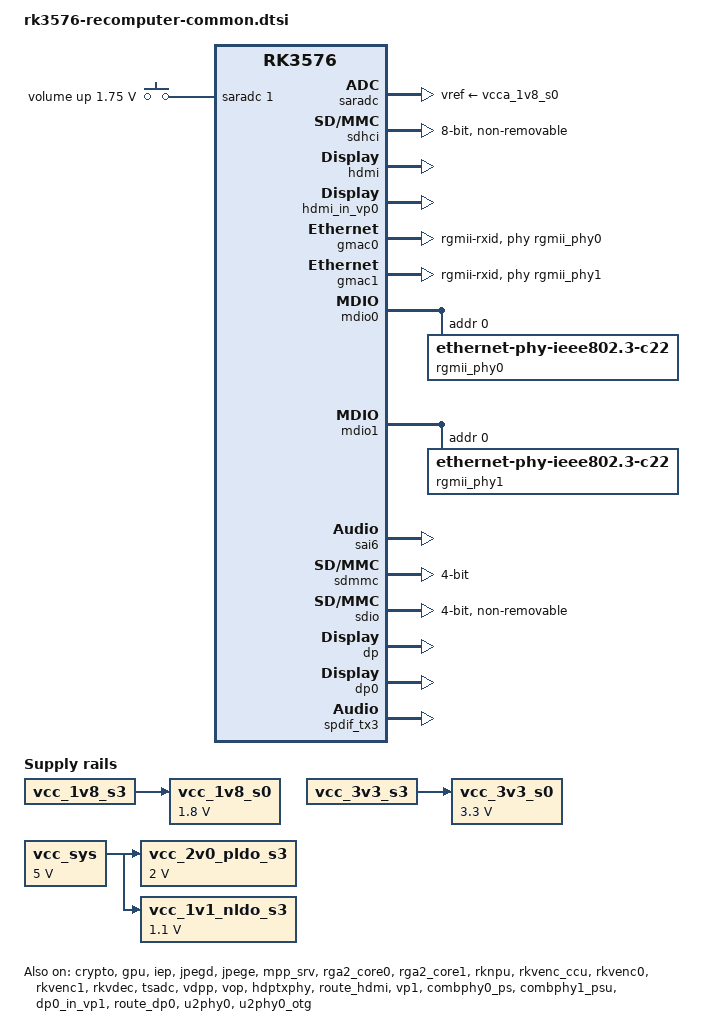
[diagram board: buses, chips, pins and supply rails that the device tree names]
// SPDX-License-Identifier: (GPL-2.0+ OR MIT)
/*
 * Copyright (c) 2024 Rockchip Electronics Co., Ltd.
 * Copyright (c) 2025 Radxa Computer (Shenzhen) Co., Ltd.
 *
 * ReComputer RK3576 family common bits: power tree (incl. the RK806 PMIC
 * include), SoC IP enables and the display / storage / ethernet framework.
 * Pin assignments, power switches and devices tied to one specific board
 * (GPIO expander, codecs, Type-C controller, fan, WiFi/BT module, 40-pin
 * header naming) stay in the per-board dts.
 */

#include <dt-bindings/usb/pd.h>
#include <dt-bindings/gpio/gpio.h>
#include <dt-bindings/pwm/pwm.h>
#include <dt-bindings/pinctrl/rockchip.h>
#include <dt-bindings/input/rk-input.h>
#include <dt-bindings/display/drm_mipi_dsi.h>
#include <dt-bindings/display/rockchip_vop.h>
#include <dt-bindings/sensor-dev.h>
#include "rk3576.dtsi"
#include "rk3576-linux.dtsi"
#include "rk3576-rk806.dtsi"

/ {
	adc-keys {
		compatible = "adc-keys";
		io-channels = <&saradc 1>;
		io-channel-names = "buttons";
		keyup-threshold-microvolt = <1800000>;
		status = "okay";

		volumeup-key {
			linux,code = <KEY_VOLUMEUP>;
			label = "volume up";
			press-threshold-microvolt = <1750000>;
		};
	};

	vcc_sys: vcc5v0-sys {
		compatible = "regulator-fixed";
		regulator-name = "vcc_sys";
		regulator-always-on;
		regulator-boot-on;
		regulator-min-microvolt = <5000000>;
		regulator-max-microvolt = <5000000>;
	};

	vcc_2v0_pldo_s3: vcc-2v0-pldo-s3 {
		compatible = "regulator-fixed";
		regulator-name = "vcc_2v0_pldo_s3";
		regulator-boot-on;
		regulator-always-on;
		regulator-min-microvolt = <2000000>;
		regulator-max-microvolt = <2000000>;
		vin-supply = <&vcc_sys>;
	};

	vcc_1v1_nldo_s3: vcc-1v1-nldo-s3 {
		compatible = "regulator-fixed";
		regulator-name = "vcc_1v1_nldo_s3";
		regulator-boot-on;
		regulator-always-on;
		regulator-min-microvolt = <1100000>;
		regulator-max-microvolt = <1100000>;
		vin-supply = <&vcc_sys>;
	};

	vcc_1v8_s0: vcc-1v8-s0 {
		compatible = "regulator-fixed";
		regulator-name = "vcc_1v8_s0";
		regulator-boot-on;
		regulator-always-on;
		regulator-min-microvolt = <1800000>;
		regulator-max-microvolt = <1800000>;
		vin-supply = <&vcc_1v8_s3>;
	};

	vcc_3v3_s0: vcc-3v3-s0 {
		compatible = "regulator-fixed";
		regulator-name = "vcc_3v3_s0";
		regulator-boot-on;
		regulator-always-on;
		regulator-min-microvolt = <3300000>;
		regulator-max-microvolt = <3300000>;
		vin-supply = <&vcc_3v3_s3>;
	};

	hdmi_sound: hdmi-sound {
		compatible = "rockchip,hdmi";
		rockchip,mclk-fs = <128>;
		rockchip,card-name = "rockchip-hdmi0";
		rockchip,cpu = <&sai6>;
		rockchip,codec = <&hdmi>;
		rockchip,jack-det;
	};

	dp0_sound: dp0-sound {
		compatible = "rockchip,hdmi";
		rockchip,mclk-fs = <512>;
		rockchip,card-name = "rockchip-dp0";
		rockchip,cpu = <&spdif_tx3>;
		rockchip,codec = <&dp0 1>;
		rockchip,jack-det;
	};
};

&cpu_l0 {
	cpu-supply = <&vdd_cpu_lit_s0>;
};

&cpu_b0 {
	cpu-supply = <&vdd_cpu_big_s0>;
};

&crypto {
	status = "okay";
};

&gpu {
	mali-supply = <&vdd_gpu_s0>;
	status = "okay";
};

&iep {
	status = "okay";
};

&iep_mmu {
	status = "okay";
};

&jpegd {
	status = "okay";
};

&jpege {
	status = "okay";
};

&jpeg_mmu {
	status = "okay";
};

&mpp_srv {
	status = "okay";
};

&rga2_core0 {
	status = "okay";
};

&rga2_core0_mmu {
	status = "okay";
};

&rga2_core1 {
	status = "okay";
};

&rga2_core1_mmu {
	status = "okay";
};

&rknpu {
	rknpu-supply = <&vdd_npu_s0>;
	status = "okay";
};

&rknpu_mmu {
	status = "okay";
};

&rkvenc_ccu {
	status = "okay";
};

&rkvenc0 {
	status = "okay";
};

&rkvenc0_mmu {
	status = "okay";
};

&rkvenc1 {
	status = "okay";
};

&rkvenc1_mmu {
	status = "okay";
};

&rkvdec {
	status = "okay";
};

&rkvdec_mmu {
	status = "okay";
};

&rockchip_suspend {
	status = "okay";
	rockchip,sleep-debug-en = <1>;

	rockchip,sleep-io-ret-config = <
		(0
		| RKPM_VCCIO3_RET_EN
		)
	>;

	rockchip,regulator-on-before-mem = <&vdd_npu_s0>;
};

&vdd_logic_s0 {
	regulator-state-mem {
		regulator-on-in-suspend;
	};
};

&vcca_1v8_s0 {
	regulator-state-mem {
		regulator-on-in-suspend;
	};
};

&saradc {
	status = "okay";
	vref-supply = <&vcca_1v8_s0>;
};

&tsadc {
	status = "okay";
};

&sdhci {
	bus-width = <8>;
	no-sdio;
	no-sd;
	non-removable;
	max-frequency = <100000000>;
	mmc-hs400-1_8v;
	mmc-hs400-enhanced-strobe;
	full-pwr-cycle-in-suspend;
};

&vdpp {
	status = "okay";
};

&vop {
	status = "okay";
	vop-supply = <&vdd_logic_s0>;
};

&vop_mmu {
	status = "okay";
};

&display_subsystem {
	clocks = <&hdptxphy>;
	clock-names = "hdmi0_phy_pll";
};

&hdmi {
	status = "okay";
	cec-enable;
	ddc-i2c-scl-high-time-ns = <4812>;
	ddc-i2c-scl-low-time-ns = <5000>;
};

&hdmi_in_vp0 {
	status = "okay";
};

&hdptxphy {
	status = "okay";
};

&route_hdmi {
	status = "okay";
	connect = <&vp0_out_hdmi>;
};

&hdmi_sound {
	status = "okay";
};

&vp0 {
	rockchip,plane-mask = <(1 << ROCKCHIP_VOP2_CLUSTER0 | 1 << ROCKCHIP_VOP2_ESMART0)>;
	rockchip,primary-plane = <ROCKCHIP_VOP2_ESMART0>;
	cursor-win-id = <ROCKCHIP_VOP2_CLUSTER0>;
};

&vp1 {
	status = "okay";
	assigned-clocks = <&cru DCLK_VP1_SRC>;
	assigned-clock-parents = <&cru PLL_VPLL>;
	rockchip,plane-mask = <(1 << ROCKCHIP_VOP2_CLUSTER1 | 1 << ROCKCHIP_VOP2_ESMART1)>;
	rockchip,primary-plane = <ROCKCHIP_VOP2_ESMART1>;
	cursor-win-id = <ROCKCHIP_VOP2_CLUSTER1>;
};

&vp2 {
	assigned-clocks = <&cru DCLK_VP2_SRC>;
	assigned-clock-parents = <&cru PLL_VPLL>;
	rockchip,plane-mask = <(1 << ROCKCHIP_VOP2_ESMART2 | 1 << ROCKCHIP_VOP2_ESMART3)>;
	rockchip,primary-plane = <ROCKCHIP_VOP2_ESMART2>;
	cursor-win-id = <ROCKCHIP_VOP2_ESMART3>;
};

&gmac0 {
	/* Use rgmii-rxid mode to disable rx delay inside Soc */
	phy-mode = "rgmii-rxid";
	clock_in_out = "output";

	snps,reset-active-low;
	/* Reset time is 20ms, 100ms for rtl8211f */
	snps,reset-delays-us = <0 20000 100000>;

	phy-handle = <&rgmii_phy0>;
	status = "okay";
};

&gmac1 {
	/* Use rgmii-rxid mode to disable rx delay inside Soc */
	phy-mode = "rgmii-rxid";
	clock_in_out = "output";

	snps,reset-active-low;
	/* Reset time is 20ms, 100ms for rtl8211f */
	snps,reset-delays-us = <0 20000 100000>;

	phy-handle = <&rgmii_phy1>;
	status = "okay";
};

&mdio0 {
	rgmii_phy0: phy@1 {
		compatible = "ethernet-phy-ieee802.3-c22";
		reg = <0x0>;
	};
};

&mdio1 {
	rgmii_phy1: phy@1 {
		compatible = "ethernet-phy-ieee802.3-c22";
		reg = <0x0>;
	};
};

&sai6 {
	status = "okay";
};

&sdmmc {
        max-frequency = <100000000>;
        no-sdio;
        no-mmc;
        bus-width = <4>;
        cap-mmc-highspeed;
        cap-sd-highspeed;
        disable-wp;
        sd-uhs-sdr104;
        vqmmc-supply = <&vccio_sd_s0>;
        status = "okay";
};

/* wifi */
&sdio {
	max-frequency = <100000000>;
	no-sd;
	no-mmc;
	bus-width = <4>;
	disable-wp;
	cap-sd-highspeed;
	cap-sdio-irq;
	keep-power-in-suspend;
	non-removable;
	sd-uhs-sdr50;
	sd-uhs-sdr104;
	status = "okay";
};

&combphy0_ps {
	status = "okay";
};

&combphy1_psu {
	status = "okay";
};

/* DP */
&dp {
	status = "okay";
};

&dp0 {
	status = "okay";
};

&dp0_in_vp1 {
	status = "okay";
};

&route_dp0 {
	status = "okay";
	connect = <&vp1_out_dp0>;
};

&dp0_sound {
	status = "okay";
};

&spdif_tx3 {
	status = "okay";
};

/* USB2 OTG0 */
&u2phy0 {
	status = "okay";
};

&u2phy0_otg {
	rockchip,typec-vbus-det;
	status = "okay";
};
